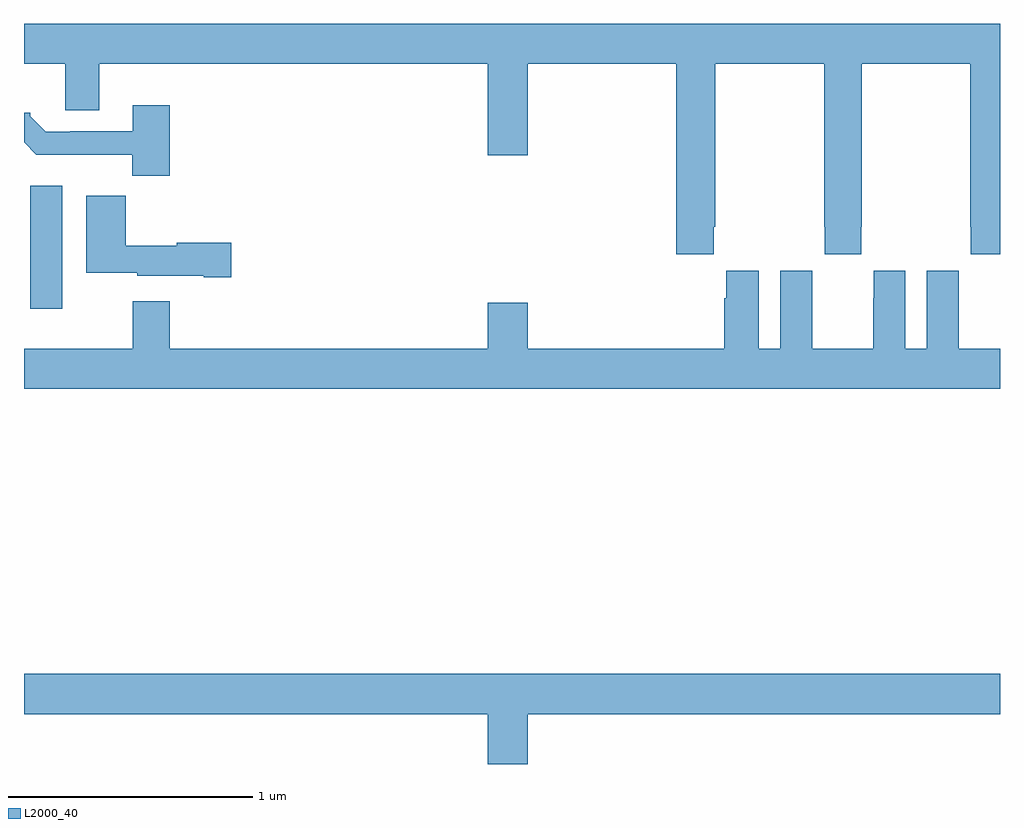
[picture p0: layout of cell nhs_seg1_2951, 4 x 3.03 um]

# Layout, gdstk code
import gdstk
lib = gdstk.Library(unit=1e-6, precision=1e-09)
def R(c, l, rs):  # rectangles x0, y0, x1, y1
    for r in rs: c.add(gdstk.rectangle(r[:2], r[2:], *l))
def P(c, l, *ps):  # polygons
    for p in ps: c.add(gdstk.Polygon(p, *l))
L2000_40 = (2000, 40)

nhs_seg1_2951 = lib.new_cell('nhs_seg1_2951')
R(nhs_seg1_2951, L2000_40, [(271.025,548.064,271.156,548.569)])
P(nhs_seg1_2951, L2000_40, [(271,549.068),(271.169,549.068),(271.169,548.878),(271.309,548.878),(271.309,549.068),(272.9,549.068),(272.9,548.694),(273.064,548.694),(273.064,549.068),(273.674,549.068),(273.674,548.289),(273.827,548.289),(273.827,548.401),(273.834,548.401),(273.834,549.068),(274.279,549.068),(274.279,548.401),(274.281,548.401),(274.281,548.289),(274.431,548.289),(274.431,548.401),(274.434,548.401),(274.434,549.068),(274.879,549.068),(274.879,548.401),(274.881,548.401),(274.881,548.289),(275,548.289),(275,549.232),(271,549.232)],
  [(271.598,548.899),(271.445,548.899),(271.445,548.793),(271.189,548.793),(271.189,548.79),(271.09,548.79),(271.026,548.854),(271.026,548.869),(271,548.869),(271,548.747),(271.051,548.696),(271.443,548.696),(271.443,548.609),(271.598,548.609)],
  [(271.849,548.336),(271.626,548.336),(271.626,548.323),(271.418,548.323),(271.418,548.527),(271.256,548.527),(271.256,548.213),(271.464,548.213),(271.464,548.201),(271.736,548.201),(271.736,548.194),(271.849,548.194)],
  [(275,547.9),(274.831,547.9),(274.831,548.108),(274.83,548.108),(274.83,548.221),(274.7,548.221),(274.7,547.9),(274.612,547.9),(274.612,548.221),(274.482,548.221),(274.482,548.108),(274.481,548.108),(274.481,547.9),(274.231,547.9),(274.231,548.108),(274.23,548.108),(274.23,548.221),(274.1,548.221),(274.1,547.9),(274.012,547.9),(274.012,548.221),(273.878,548.221),(273.878,548.108),(273.869,548.108),(273.869,547.9),(273.064,547.9),(273.064,548.089),(272.9,548.089),(272.9,547.9),(271.598,547.9),(271.598,548.095),(271.445,548.095),(271.445,547.9),(271,547.9),(271,547.736),(275,547.736)],
  [(273.064,546.404),(275,546.404),(275,546.568),(271,546.568),(271,546.404),(272.9,546.404),(272.9,546.199),(273.064,546.199)])

lib.write_gds('nhs_seg1_2951.gds')
